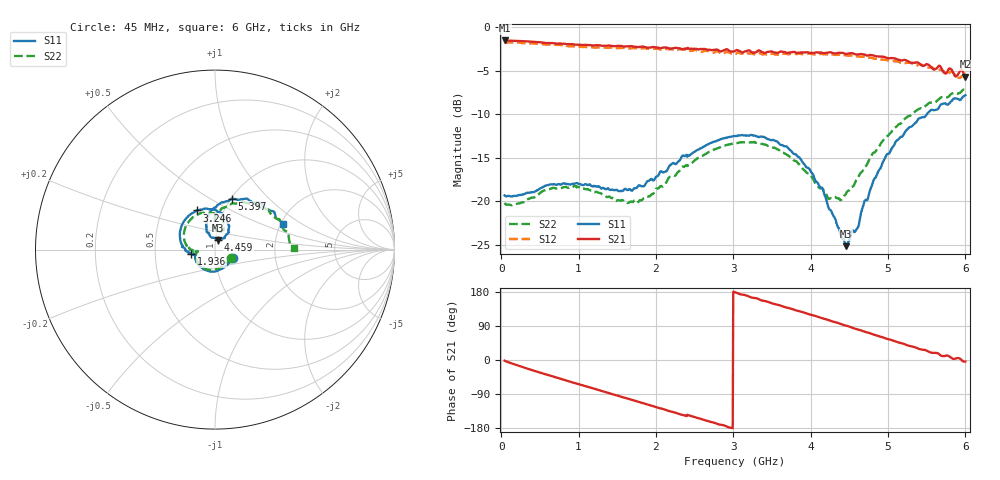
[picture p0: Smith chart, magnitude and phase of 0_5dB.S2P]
! C:\Users\Aljaz\OneDrive - Univerza v Ljubljani\DOKTORAT\NOVI SA\Slabilec PE43711B\meritve\prototip2\0_5dB.S2P
! Touchstone 1.1 file saved by VNA.EXE V1.65 (www.ke5fx.com/gpib/readme.htm)
! 18. 04. 2022 17:59:07
!  Source: HP8510C.07.14: Aug 26  1998
!  Min freq: 4.500000E+007 Hz
!  Max freq: 6.000000E+009 Hz
!  Points: 801
!  Params: S11 S21 S12 S22
# GHZ S DB R 50
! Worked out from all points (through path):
!   801 points, 45 MHz to 6 GHz, reference 50 ohm
!   highest |S21| = -1.50 dB at 52.44 MHz (marker M1); lowest = -5.7 dB at 6 GHz (marker M2)
!   group delay of S21, straight-line fit = 167 ps
!   lowest |S11| = -25.2 dB at 4.459 GHz (marker M3), VSWR 1.12, Z = 51.4 + j5.42 ohm
!   |S11| at or under -10 dB: start of sweep to 5.501 GHz
!   |S22| runs from -20.5 to -7.1 dB; largest |S21 - S12| = 0.055
!   S11 on the Smith chart (normalised r, x): 45 MHz: 1.21, -0.11; 1.936 GHz: 0.77, -0.04; 3.246 GHz: 0.75, +0.35; 4.459 GHz: 1.03, +0.11; 5.397 GHz: 1.01, +0.63; 6 GHz: 2.07, +0.71
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0.045  -19.33 -24.2  -1.50 -1.7  -1.77 -1.9  -20.20 -26.9
0.05244375  -19.39 -23.5  -1.50 -2.6  -1.76 -2.7  -20.30 -26.2
0.5214  -18.47 -85.0  -1.72 -34.4  -1.90 -34.4  -18.94 -91.2
1.042463  -18.10 -139.2  -2.00 -66.2  -2.26 -66.3  -18.57 -148.3
1.518863  -18.84 -163.6  -2.12 -94.8  -2.37 -94.4  -19.89 -173.5
1.935712  -17.46 -169.3  -2.31 -119.8  -2.48 -119.5  -19.29 -174.9
2.032481  -17.01 -171.1  -2.33 -126.3  -2.45 -125.8  -18.53 -175.0
2.36745  -14.81 173.6  -2.45 -145.9  -2.55 -146.0  -16.03 172.4
2.434444  -14.74 173.0  -2.45 -146.6  -2.70 -146.9  -15.80 170.9
2.791744  -13.04 149.1  -2.54 -168.4  -2.69 -168.5  -13.93 147.3
3.0225  -12.50 131.4  -2.70 179.0  -3.03 178.5  -13.34 130.2
3.245812  -12.41 114.3  -2.88 164.6  -3.01 164.7  -13.23 113.2
3.692438  -13.72 79.4  -2.94 138.2  -3.05 138.6  -14.64 81.7
4.019963  -16.80 57.8  -2.95 118.4  -3.05 118.3  -17.29 68.7
4.243275  -20.96 53.5  -2.86 104.5  -3.05 104.6  -19.72 72.9
4.459144  -25.18 72.8  -3.06 90.7  -3.21 90.3  -19.09 86.8
4.600575  -23.14 104.8  -3.12 81.3  -3.33 81.1  -17.45 91.6
4.801556  -17.92 112.2  -3.20 68.0  -3.51 68.1  -14.50 89.3
5.009981  -14.53 101.3  -3.54 54.7  -3.83 55.3  -12.36 77.1
5.397056  -10.49 71.3  -4.11 29.5  -4.24 32.4  -9.41 48.6
5.709694  -8.78 45.0  -5.05 10.3  -4.98 11.6  -8.03 24.3
6  -7.80 20.5  -5.67 -4.0  -5.78 -2.6  -7.16 1.2
